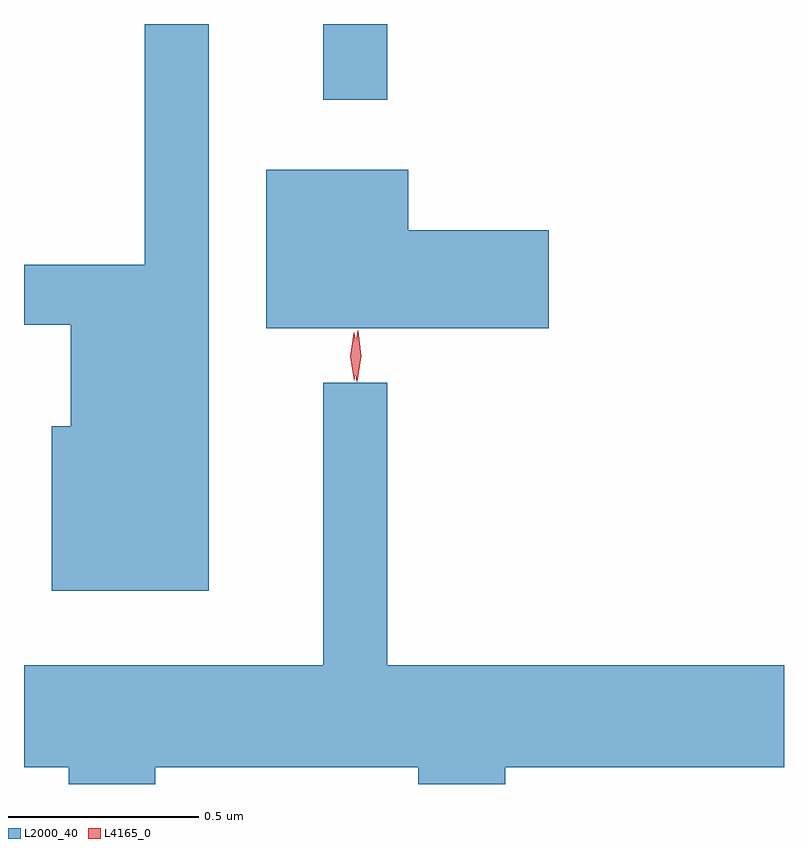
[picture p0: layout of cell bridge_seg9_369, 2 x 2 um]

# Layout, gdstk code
import gdstk
lib = gdstk.Library(unit=1e-6, precision=1e-09)
def R(c, l, rs):  # rectangles x0, y0, x1, y1
    for r in rs: c.add(gdstk.rectangle(r[:2], r[2:], *l))
def P(c, l, *ps):  # polygons
    for p in ps: c.add(gdstk.Polygon(p, *l))
L2000_40 = (2000, 40)
L4165_0 = (4165, 0)

bridge_seg9_369 = lib.new_cell('bridge_seg9_369')
R(bridge_seg9_369, L2000_40, [(766.941,2000.233,767.109,2000.432)])
P(bridge_seg9_369, L2000_40, [(766.639,2000.432),(766.471,2000.432),(766.471,1999.799),(766.153,1999.799),(766.153,1999.641),(766.276,1999.641),(766.276,1999.374),(766.226,1999.374),(766.226,1998.941),(766.639,1998.941)],
  [(767.534,1999.889),(767.164,1999.889),(767.164,2000.049),(766.791,2000.049),(766.791,1999.631),(767.534,1999.631)],
  [(766.499,1998.476),(767.191,1998.476),(767.191,1998.432),(767.419,1998.432),(767.419,1998.476),(768.153,1998.476),(768.153,1998.744),(767.109,1998.744),(767.109,1999.488),(766.941,1999.488),(766.941,1998.744),(766.153,1998.744),(766.153,1998.476),(766.271,1998.476),(766.271,1998.432),(766.499,1998.432)])
P(bridge_seg9_369, L4165_0, [(767.022,1999.493),(767.022,1999.493),(767.012,1999.556),(767.021,1999.619),(767.022,1999.62),(767.022,1999.619),(767.032,1999.556),(767.022,1999.493)],
  [(767.029,1999.49),(767.02,1999.558),(767.031,1999.625),(767.031,1999.626),(767.032,1999.625),(767.04,1999.558),(767.03,1999.49),(767.03,1999.49)])

lib.write_gds('bridge_seg9_369.gds')
